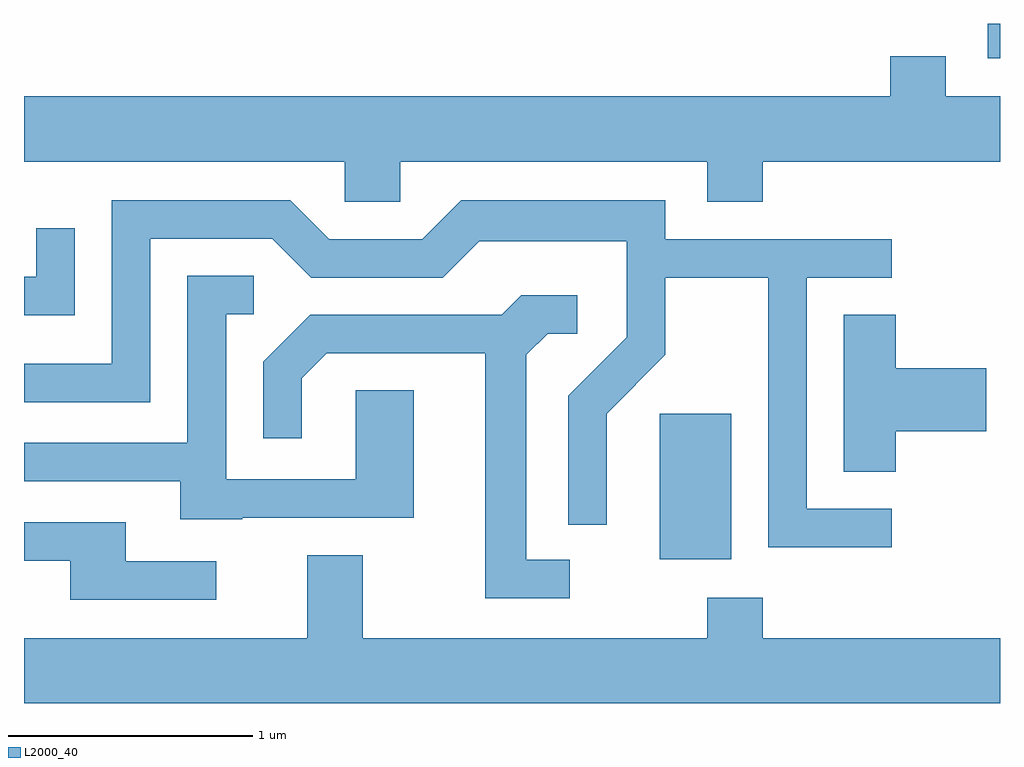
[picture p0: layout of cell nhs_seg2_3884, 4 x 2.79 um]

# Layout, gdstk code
import gdstk
lib = gdstk.Library(unit=1e-6, precision=1e-09)
def R(c, l, rs):  # rectangles x0, y0, x1, y1
    for r in rs: c.add(gdstk.rectangle(r[:2], r[2:], *l))
def P(c, l, *ps):  # polygons
    for p in ps: c.add(gdstk.Polygon(p, *l))
L2000_40 = (2000, 40)

nhs_seg2_3884 = lib.new_cell('nhs_seg2_3884')
R(nhs_seg2_3884, L2000_40, [(302.216,1015.606,302.509,1016.204), (303.561,1017.661,303.611,1017.802)])
P(nhs_seg2_3884, L2000_40, [(301.154,1017.236),(302.411,1017.236),(302.411,1017.071),(302.639,1017.071),(302.639,1017.236),(303.611,1017.236),(303.611,1017.504),(303.389,1017.504),(303.389,1017.669),(303.161,1017.669),(303.161,1017.504),(299.611,1017.504),(299.611,1017.236),(300.926,1017.236),(300.926,1017.071),(301.154,1017.071)],
  [(303.168,1015.814),(302.819,1015.814),(302.819,1016.761),(303.168,1016.761),(303.168,1016.919),(302.239,1016.919),(302.239,1017.079),(301.404,1017.079),(301.244,1016.919),(300.862,1016.919),(300.702,1017.079),(299.971,1017.079),(299.971,1016.409),(299.611,1016.409),(299.611,1016.251),(300.129,1016.251),(300.129,1016.921),(300.629,1016.921),(300.789,1016.761),(301.327,1016.761),(301.477,1016.911),(302.081,1016.911),(302.081,1016.517),(301.841,1016.277),(301.841,1015.748),(301.999,1015.748),(301.999,1016.204),(302.239,1016.444),(302.239,1016.761),(302.661,1016.761),(302.661,1015.656),(303.168,1015.656)],
  [(299.819,1016.963),(299.661,1016.963),(299.661,1016.764),(299.611,1016.764),(299.611,1016.606),(299.819,1016.606)],
  [(300.505,1015.776),(301.209,1015.776),(301.209,1016.299),(300.971,1016.299),(300.971,1015.934),(300.439,1015.934),(300.439,1016.611),(300.553,1016.611),(300.553,1016.769),(300.281,1016.769),(300.281,1016.084),(299.611,1016.084),(299.611,1015.926),(300.251,1015.926),(300.251,1015.771),(300.505,1015.771)],
  [(301.848,1015.604),(301.669,1015.604),(301.669,1016.444),(301.757,1016.531),(301.878,1016.531),(301.878,1016.689),(301.649,1016.689),(301.569,1016.609),(300.784,1016.609),(300.591,1016.417),(300.591,1016.103),(300.749,1016.103),(300.749,1016.349),(300.852,1016.451),(301.501,1016.451),(301.501,1015.446),(301.848,1015.446)],
  [(303.184,1016.131),(303.554,1016.131),(303.554,1016.389),(303.184,1016.389),(303.184,1016.609),(302.971,1016.609),(302.971,1015.966),(303.184,1015.966)],
  [(300.398,1015.599),(300.029,1015.599),(300.029,1015.759),(299.611,1015.759),(299.611,1015.601),(299.801,1015.601),(299.801,1015.441),(300.398,1015.441)],
  [(303.611,1015.284),(302.639,1015.284),(302.639,1015.449),(302.411,1015.449),(302.411,1015.284),(300.999,1015.284),(300.999,1015.624),(300.771,1015.624),(300.771,1015.284),(299.611,1015.284),(299.611,1015.016),(303.611,1015.016)])

lib.write_gds('nhs_seg2_3884.gds')
